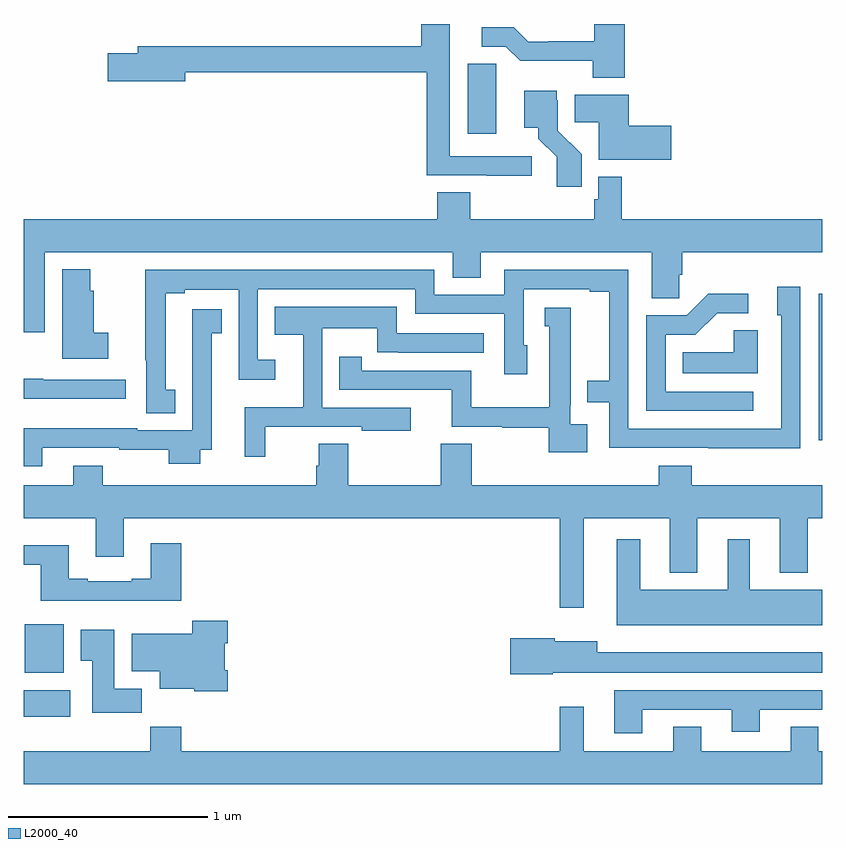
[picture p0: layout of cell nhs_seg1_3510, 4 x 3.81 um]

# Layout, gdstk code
import gdstk
lib = gdstk.Library(unit=1e-6, precision=1e-09)
def R(c, l, rs):  # rectangles x0, y0, x1, y1
    for r in rs: c.add(gdstk.rectangle(r[:2], r[2:], *l))
def P(c, l, *ps):  # polygons
    for p in ps: c.add(gdstk.Polygon(p, *l))
L2000_40 = (2000, 40)

nhs_seg1_3510 = lib.new_cell('nhs_seg1_3510')
R(nhs_seg1_3510, L2000_40, [(301,558.728,301.234,558.862), (301.004,558.95,301.201,559.192), (304.983,560.115,305,560.847), (303.582,562.198,303.721,562.199)])
P(nhs_seg1_3510, L2000_40, [(303.544,561.537),(303.135,561.537),(303.135,562.199),(302.99,562.199),(302.99,562.087),(301.571,562.087),(301.571,562.053),(301.422,562.053),(301.422,561.911),(301.81,561.911),(301.81,561.958),(303.019,561.958),(303.019,561.441),(303.319,561.441),(303.319,561.439),(303.544,561.439)],
  [(304.01,562.199),(303.857,562.199),(303.857,562.113),(303.628,562.113),(303.628,562.11),(303.528,562.11),(303.455,562.183),(303.294,562.183),(303.294,562.086),(303.414,562.086),(303.487,562.014),(303.85,562.014),(303.85,561.929),(304.01,561.929)],
  [(303.367,561.89),(303.366,561.89),(303.366,562.001),(303.224,562.001),(303.224,561.648),(303.367,561.648)],
  [(303.794,561.546),(303.675,561.665),(303.675,561.816),(303.67,561.816),(303.67,561.865),(303.506,561.865),(303.506,561.68),(303.578,561.68),(303.578,561.625),(303.669,561.535),(303.669,561.384),(303.794,561.384)],
  [(304.243,561.689),(304.031,561.689),(304.031,561.844),(303.76,561.844),(303.76,561.706),(303.881,561.706),(303.881,561.518),(304.243,561.518)],
  [(301.105,561.056),(303.149,561.056),(303.149,560.929),(303.289,560.929),(303.289,561.056),(304.145,561.056),(304.145,560.824),(304.283,560.824),(304.283,560.944),(304.298,560.944),(304.298,561.056),(305,561.056),(305,561.22),(303.995,561.22),(303.995,561.433),(303.879,561.433),(303.879,561.321),(303.859,561.321),(303.859,561.22),(303.236,561.22),(303.236,561.356),(303.071,561.356),(303.071,561.22),(301,561.22),(301,560.655),(301.105,560.655)],
  [(301.423,560.652),(301.351,560.652),(301.351,560.862),(301.333,560.862),(301.333,560.971),(301.193,560.971),(301.193,560.522),(301.423,560.522)],
  [(304.89,560.884),(304.775,560.884),(304.775,560.739),(304.794,560.739),(304.794,560.172),(304.029,560.172),(304.029,560.967),(303.408,560.967),(303.408,560.844),(303.057,560.844),(303.057,560.967),(302.069,560.967),(302.069,560.968),(301.609,560.968),(301.609,560.515),(301.614,560.515),(301.614,560.248),(301.76,560.248),(301.76,560.367),(301.711,560.367),(301.711,560.85),(301.807,560.85),(301.807,560.867),(302.076,560.867),(302.076,560.417),(302.26,560.417),(302.26,560.518),(302.172,560.518),(302.172,560.871),(302.961,560.871),(302.961,560.748),(303.408,560.748),(303.408,560.445),(303.523,560.445),(303.523,560.589),(303.504,560.589),(303.504,560.871),(303.836,560.871),(303.836,560.859),(303.932,560.859),(303.932,560.413),(303.824,560.413),(303.824,560.304),(303.933,560.304),(303.933,560.076),(304.429,560.076),(304.429,560.075),(304.89,560.075)],
  [(304.654,560.358),(304.215,560.358),(304.215,560.643),(304.365,560.643),(304.473,560.751),(304.63,560.751),(304.63,560.849),(304.43,560.849),(304.32,560.739),(304.119,560.739),(304.119,560.262),(304.654,560.262)],
  [(302.21,560.181),(302.693,560.181),(302.693,560.162),(302.938,560.162),(302.938,560.277),(302.496,560.277),(302.496,560.675),(302.772,560.675),(302.772,560.554),(302.875,560.554),(302.875,560.553),(303.304,560.553),(303.304,560.649),(302.868,560.649),(302.868,560.782),(302.257,560.782),(302.257,560.642),(302.399,560.642),(302.399,560.278),(302.108,560.278),(302.108,560.031),(302.21,560.031)],
  [(303.823,560.194),(303.738,560.194),(303.738,560.29),(303.739,560.29),(303.739,560.778),(303.611,560.778),(303.611,560.685),(303.632,560.685),(303.632,560.278),(303.241,560.278),(303.241,560.463),(302.694,560.463),(302.694,560.533),(302.581,560.533),(302.581,560.367),(303.143,560.367),(303.143,560.181),(303.396,560.181),(303.396,560.176),(303.63,560.176),(303.63,560.054),(303.823,560.054)],
  [(301.093,560.076),(301.479,560.076),(301.479,560.066),(301.726,560.066),(301.726,559.997),(301.885,559.997),(301.885,560.067),(301.942,560.067),(301.942,560.649),(301.991,560.649),(301.991,560.77),(301.844,560.77),(301.844,560.446),(301.845,560.446),(301.845,560.163),(301.569,560.163),(301.569,560.173),(301,560.173),(301,559.983),(301.093,559.983)],
  [(304.678,560.666),(304.556,560.666),(304.556,560.554),(304.3,560.554),(304.3,560.45),(304.678,560.45)],
  [(301.51,560.418),(301.097,560.418),(301.097,560.421),(301,560.421),(301,560.321),(301.51,560.321)],
  [(303.805,559.724),(304.235,559.724),(304.235,559.451),(304.375,559.451),(304.375,559.724),(304.787,559.724),(304.787,559.451),(304.927,559.451),(304.927,559.724),(305,559.724),(305,559.888),(304.346,559.888),(304.346,559.987),(304.181,559.987),(304.181,559.888),(303.243,559.888),(303.243,560.096),(303.088,560.096),(303.088,559.888),(302.625,559.888),(302.625,560.096),(302.477,560.096),(302.477,559.986),(302.465,559.986),(302.465,559.888),(301.395,559.888),(301.395,559.987),(301.247,559.987),(301.247,559.888),(301,559.888),(301,559.724),(301.361,559.724),(301.361,559.53),(301.501,559.53),(301.501,559.724),(303.684,559.724),(303.684,559.275),(303.805,559.275)],
  [(305,559.366),(304.636,559.366),(304.636,559.618),(304.526,559.618),(304.526,559.366),(304.087,559.366),(304.087,559.618),(303.971,559.618),(303.971,559.187),(305,559.187)],
  [(301.79,559.597),(301.637,559.597),(301.637,559.42),(301.541,559.42),(301.541,559.407),(301.321,559.407),(301.321,559.42),(301.225,559.42),(301.225,559.588),(301,559.588),(301,559.491),(301.085,559.491),(301.085,559.31),(301.79,559.31)],
  [(302.021,558.961),(302.008,558.961),(302.008,559.097),(302.021,559.097),(302.021,559.21),(301.843,559.21),(301.843,559.144),(301.541,559.144),(301.541,558.956),(301.682,558.956),(301.682,558.869),(301.854,558.869),(301.854,558.857),(302.021,558.857)],
  [(301.592,558.868),(301.453,558.868),(301.453,559.165),(301.286,559.165),(301.286,559.009),(301.343,559.009),(301.343,558.75),(301.592,558.75)],
  [(303.65,558.95),(305,558.95),(305,559.051),(303.874,559.051),(303.874,559.108),(303.66,559.108),(303.66,559.121),(303.438,559.121),(303.438,558.943),(303.65,558.943)],
  [(304.099,558.765),(304.547,558.765),(304.547,558.653),(304.687,558.653),(304.687,558.765),(305,558.765),(305,558.861),(303.959,558.861),(303.959,558.645),(304.099,558.645)],
  [(305,558.556),(304.981,558.556),(304.981,558.68),(304.841,558.68),(304.841,558.556),(304.393,558.556),(304.393,558.68),(304.253,558.68),(304.253,558.556),(303.805,558.556),(303.805,558.778),(303.684,558.778),(303.684,558.556),(301.79,558.556),(301.79,558.68),(301.633,558.68),(301.633,558.556),(301,558.556),(301,558.392),(305,558.392)])

lib.write_gds('nhs_seg1_3510.gds')
